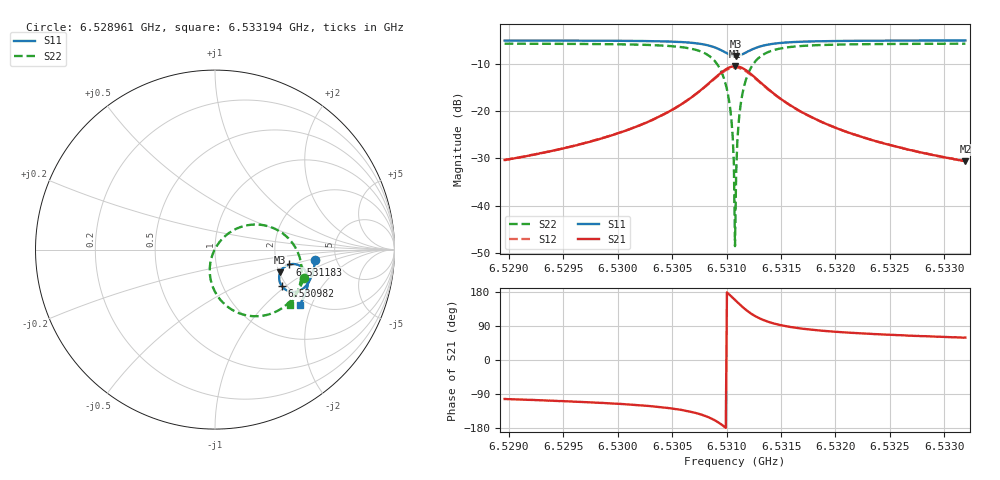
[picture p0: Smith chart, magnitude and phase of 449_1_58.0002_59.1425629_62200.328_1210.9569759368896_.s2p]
#  HZ  S  RI  R  50.00
! Rohde & Schwarz Vector Network Analyzer
! Rohde-Schwarz,ZNB20-2Port,1311601062101988,3.16
! Created: UTC 3/21/2024, 1:10:22 AM
! freq[Hz]  re:S11  im:S11  re:S21  im:S21  re:S12  im:S12  re:S22  im:S22
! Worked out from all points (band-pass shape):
!   401 points, 6.528961 GHz to 6.533194 GHz, reference 50 ohm
!   highest |S21| = -10.44 dB at 6.531077 GHz (marker M1); lowest = -30.6 dB at 6.533194 GHz (marker M2)
!   |S21| within 3 dB of the highest: 6.530867 GHz to 6.53129 GHz (422.8 kHz wide, 0.00647 % of centre)
!   lowest |S11| = -8.3 dB at 6.531088 GHz (marker M3), VSWR 2.25, Z = 101 - j30.2 ohm
!   |S11| at or under -10 dB: nowhere
!   |S22| runs from -48.6 to -5.7 dB; largest |S21 - S12| = 0.012
!   S11 on the Smith chart (normalised r, x): 6.528961 GHz: 3.45, -0.58; 6.530982 GHz: 1.88, -0.93; 6.531183 GHz: 2.35, -0.47; 6.533194 GHz: 1.82, -1.65
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6.5289607e9  0.5581 -0.0575  -0.00682 -0.0297  -0.00737 -0.0296  0.4949 -0.1606
6.5296697e9  0.5477 -0.1161  -0.016 -0.0423  -0.0169 -0.042  0.4648 -0.226
6.5303788e9  0.5196 -0.1856  -0.0488 -0.0726  -0.0509 -0.0713  0.3855 -0.3177
6.5308021e9  0.4503 -0.2349  -0.1541 -0.0983  -0.1565 -0.0922  0.1828 -0.3678
6.5309079e9  0.4064 -0.2299  -0.2221 -0.0727  -0.2217 -0.0638  0.0663 -0.3152
6.530982e9  0.3723 -0.2034  -0.2727 -0.0159  -0.2674 -0.00644  -0.0108 -0.2114
6.5310137e9  0.3618 -0.1837  -0.2864 0.0217  -0.2788 0.0301  -0.0277 -0.1462
6.5310349e9  0.358 -0.1684  -0.2898 0.0503  -0.281 0.0575  -0.029 -0.0984
6.5310455e9  0.3574 -0.1602  -0.2896 0.0652  -0.28 0.0715  -0.0261 -0.074
6.531056e9  0.3575 -0.152  -0.2878 0.0802  -0.2779 0.0856  -0.0208 -0.0494
6.5310666e9  0.3584 -0.1436  -0.2846 0.0951  -0.2744 0.0997  -0.013 -0.0256
6.5310772e9  0.3604 -0.1355  -0.2799 0.1097  -0.2694 0.1134  -0.00301 -0.00219
6.5310878e9  0.3632 -0.1276  -0.2737 0.1238  -0.2632 0.1264  0.0095 0.02
6.5310984e9  0.367 -0.1201  -0.2661 0.1372  -0.2558 0.1388  0.0239 0.0406
6.531109e9  0.3714 -0.1129  -0.2573 0.1494  -0.2472 0.1504  0.0402 0.0598
6.5311301e9  0.382 -0.1007  -0.2369 0.1711  -0.2277 0.1703  0.0772 0.092
6.531183e9  0.4145 -0.0828  -0.1777 0.2032  -0.1712 0.2002  0.1801 0.1356
6.5312571e9  0.4567 -0.0832  -0.1035 0.2054  -0.1002 0.2025  0.3055 0.1271
6.5313629e9  0.4932 -0.1056  -0.0398 0.1751  -0.0381 0.1736  0.4099 0.062
6.5317863e9  0.5181 -0.185  0.0154 0.0845  0.0163 0.0842  0.4829 -0.128
6.5324953e9  0.4984 -0.2566  0.0174 0.0406  0.0182 0.0402  0.4551 -0.2445
6.5331937e9  0.4711 -0.3083  0.0152 0.0254  0.0157 0.0252  0.4203 -0.3061
